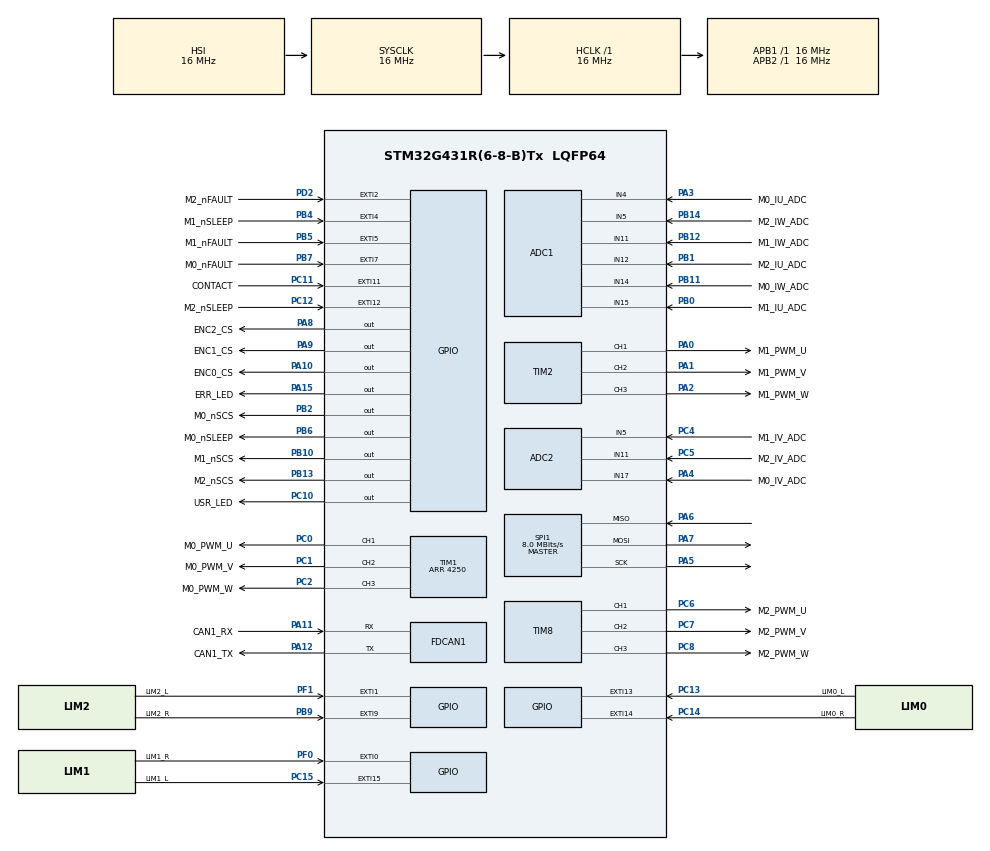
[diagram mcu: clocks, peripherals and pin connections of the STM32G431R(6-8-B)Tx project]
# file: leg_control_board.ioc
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ADC1.Channel-2\#ChannelRegularConversion=ADC_CHANNEL_4
ADC1.EOCSelection=ADC_EOC_SEQ_CONV
ADC1.EnableInjectedConversion=ENABLE
ADC1.ExternalTrigInjecConv=ADC_EXTERNALTRIGINJEC_T1_TRGO
ADC1.InjNumberOfConversion=3
ADC1.InjectedChannel-3\#ChannelInjectedConversion=ADC_CHANNEL_4
ADC1.InjectedChannel-4\#ChannelInjectedConversion=ADC_CHANNEL_15
ADC1.InjectedChannel-5\#ChannelInjectedConversion=ADC_CHANNEL_12
ADC1.InjectedOffsetNumber-3\#ChannelInjectedConversion=ADC_OFFSET_NONE
ADC1.InjectedOffsetNumber-4\#ChannelInjectedConversion=ADC_OFFSET_NONE
ADC1.InjectedOffsetNumber-5\#ChannelInjectedConversion=ADC_OFFSET_NONE
ADC1.InjectedRank-3\#ChannelInjectedConversion=1
ADC1.InjectedRank-4\#ChannelInjectedConversion=2
ADC1.InjectedRank-5\#ChannelInjectedConversion=3
ADC1.InjectedSamplingTime-3\#ChannelInjectedConversion=ADC_SAMPLETIME_24CYCLES_5
ADC1.InjectedSamplingTime-4\#ChannelInjectedConversion=ADC_SAMPLETIME_24CYCLES_5
ADC1.InjectedSamplingTime-5\#ChannelInjectedConversion=ADC_SAMPLETIME_24CYCLES_5
ADC1.Mode=ADC_DUALMODE_INJECSIMULT
ADC1.NbrOfConversionFlag=1
ADC1.OffsetNumber-2\#ChannelRegularConversion=ADC_OFFSET_NONE
ADC1.Rank-2\#ChannelRegularConversion=1
ADC1.Rank1_Channel=ADC_CHANNEL_4
ADC1.Rank2_Channel=ADC_CHANNEL_15
ADC1.Rank3_Channel=ADC_CHANNEL_12
ADC1.SamplingTime-2\#ChannelRegularConversion=ADC_SAMPLETIME_2CYCLES_5
ADC1.master=1
ADC2.Channel-2\#ChannelRegularConversion=ADC_CHANNEL_17
ADC2.EOCSelection=ADC_EOC_SEQ_CONV
ADC2.EnableInjectedConversion=ENABLE
ADC2.EnableInjectedOversampling=DISABLE
ADC2.InjNumberOfConversion=3
ADC2.InjectedChannel-3\#ChannelInjectedConversion=ADC_CHANNEL_17
ADC2.InjectedChannel-4\#ChannelInjectedConversion=ADC_CHANNEL_5
ADC2.InjectedChannel-5\#ChannelInjectedConversion=ADC_CHANNEL_11
ADC2.InjectedOffsetNumber-3\#ChannelInjectedConversion=ADC_OFFSET_NONE
ADC2.InjectedOffsetNumber-4\#ChannelInjectedConversion=ADC_OFFSET_NONE
ADC2.InjectedOffsetNumber-5\#ChannelInjectedConversion=ADC_OFFSET_NONE
ADC2.InjectedRank-3\#ChannelInjectedConversion=1
ADC2.InjectedRank-4\#ChannelInjectedConversion=2
ADC2.InjectedRank-5\#ChannelInjectedConversion=3
ADC2.InjectedSamplingTime-3\#ChannelInjectedConversion=ADC_SAMPLETIME_24CYCLES_5
ADC2.InjectedSamplingTime-4\#ChannelInjectedConversion=ADC_SAMPLETIME_24CYCLES_5
ADC2.InjectedSamplingTime-5\#ChannelInjectedConversion=ADC_SAMPLETIME_24CYCLES_5
ADC2.Mode=ADC_DUALMODE_INJECSIMULT
ADC2.NbrOfConversionFlag=1
ADC2.OffsetNumber-2\#ChannelRegularConversion=ADC_OFFSET_NONE
ADC2.Rank-2\#ChannelRegularConversion=1
ADC2.Rank1_Channel=ADC_CHANNEL_17
ADC2.Rank2_Channel=ADC_CHANNEL_5
ADC2.Rank3_Channel=ADC_CHANNEL_11
ADC2.SamplingTime-2\#ChannelRegularConversion=ADC_SAMPLETIME_2CYCLES_5
FDCAN1.CalculateBaudRateNominal=333333
FDCAN1.CalculateTimeBitNominal=3000
FDCAN1.CalculateTimeQuantumNominal=1000.0
Mcu.Family=STM32G4
Mcu.Name=STM32G431R(6-8-B)Tx
Mcu.Package=LQFP64
NVIC.ADC1_2_IRQn=true\:0\:0\:false\:false\:true\:true\:true\:true
NVIC.PriorityGroup=NVIC_PRIORITYGROUP_4
NVIC.TIM1_UP_TIM16_IRQn=true\:0\:0\:false\:false\:true\:true\:true\:true
PA0.GPIO_Label=M1_PWM_U
PA0.Signal=S_TIM2_CH1
PA1.GPIO_Label=M1_PWM_V
PA1.Signal=S_TIM2_CH2
PA10.GPIO_Label=ENC0_CS
PA10.Signal=GPIO_Output
PA11.GPIO_Label=CAN1_RX
PA11.Mode=FDCAN_Activate
PA11.Signal=FDCAN1_RX
PA12.GPIO_Label=CAN1_TX
PA12.Mode=FDCAN_Activate
PA12.Signal=FDCAN1_TX
PA13.GPIO_Label=SWDIO
PA13.Mode=Trace_Asynchronous_SW
PA13.Signal=SYS_JTMS-SWDIO
PA14.GPIO_Label=SWCLK
PA14.Mode=Trace_Asynchronous_SW
PA14.Signal=SYS_JTCK-SWCLK
PA15.GPIO_Label=ERR_LED
PA15.Signal=GPIO_Output
PA2.GPIO_Label=M1_PWM_W
PA2.Signal=S_TIM2_CH3
PA3.GPIO_Label=M0_IU_ADC
PA3.Mode=IN4-Single-Ended
PA3.Signal=ADC1_IN4
PA4.GPIO_Label=M0_IV_ADC
PA4.Mode=IN17-Single-Ended
PA4.Signal=ADC2_IN17
PA5.Mode=Full_Duplex_Master
PA5.Signal=SPI1_SCK
PA6.Mode=Full_Duplex_Master
PA6.Signal=SPI1_MISO
PA7.Mode=Full_Duplex_Master
PA7.Signal=SPI1_MOSI
PA8.GPIO_Label=ENC2_CS
PA8.Signal=GPIO_Output
PA9.GPIO_Label=ENC1_CS
PA9.Signal=GPIO_Output
PB0.GPIO_Label=M1_IU_ADC
PB0.Mode=IN15-Single-Ended
PB0.Signal=ADC1_IN15
PB1.GPIO_Label=M2_IU_ADC
PB1.Mode=IN12-Single-Ended
PB1.Signal=ADC1_IN12
PB10.GPIO_Label=M1_nSCS
PB10.Signal=GPIO_Output
PB11.GPIO_Label=M0_IW_ADC
PB11.Mode=IN14-Single-Ended
PB11.Signal=ADC1_IN14
PB12.GPIO_Label=M1_IW_ADC
PB12.Mode=IN11-Single-Ended
PB12.Signal=ADC1_IN11
PB13.GPIO_Label=M2_nSCS
PB13.Signal=GPIO_Output
PB14.GPIO_Label=M2_IW_ADC
PB14.Mode=IN5-Single-Ended
PB14.Signal=ADC1_IN5
PB2.GPIO_Label=M0_nSCS
PB2.Signal=GPIO_Output
PB3.GPIO_Label=SWO
PB3.Mode=Trace_Asynchronous_SW
PB3.Signal=SYS_JTDO-SWO
PB4.GPIO_Label=M1_nSLEEP
PB4.Signal=GPXTI4
PB5.GPIO_Label=M1_nFAULT
PB5.Signal=GPXTI5
PB6.GPIO_Label=M0_nSLEEP
PB6.Signal=GPIO_Output
PB7.GPIO_Label=M0_nFAULT
PB7.Signal=GPXTI7
PB9.GPIO_Label=LIM2_R
PB9.Signal=GPXTI9
PC0.GPIO_Label=M0_PWM_U
PC0.Signal=S_TIM1_CH1
PC1.GPIO_Label=M0_PWM_V
PC1.Signal=S_TIM1_CH2
PC10.GPIO_Label=USR_LED
PC10.Signal=GPIO_Output
PC11.GPIO_Label=CONTACT
PC11.Signal=GPXTI11
PC12.GPIO_Label=M2_nSLEEP
PC12.Signal=GPXTI12
PC13.GPIO_Label=LIM0_L
PC13.Signal=GPXTI13
PC14-OSC32_IN.GPIO_Label=LIM0_R
PC14-OSC32_IN.Signal=GPXTI14
PC15-OSC32_OUT.GPIO_Label=LIM1_L
PC15-OSC32_OUT.Signal=GPXTI15
PC2.GPIO_Label=M0_PWM_W
PC2.Signal=S_TIM1_CH3
PC3.GPIO_Label=DRV_BKIN
PC3.Signal=TIM1_BKIN2
PC4.GPIO_Label=M1_IV_ADC
PC4.Mode=IN5-Single-Ended
PC4.Signal=ADC2_IN5
PC5.GPIO_Label=M2_IV_ADC
PC5.Mode=IN11-Single-Ended
PC5.Signal=ADC2_IN11
PC6.GPIO_Label=M2_PWM_U
PC6.Signal=S_TIM8_CH1
PC7.GPIO_Label=M2_PWM_V
PC7.Signal=S_TIM8_CH2
PC8.GPIO_Label=M2_PWM_W
PC8.Signal=S_TIM8_CH3
PD2.GPIO_Label=M2_nFAULT
PD2.Signal=GPXTI2
PF0-OSC_IN.GPIO_Label=LIM1_R
PF0-OSC_IN.Signal=GPXTI0
PF1-OSC_OUT.GPIO_Label=LIM2_L
PF1-OSC_OUT.Signal=GPXTI1
ProjectManager.HeapSize=0x200
ProjectManager.StackSize=0x400
ProjectManager.TargetToolchain=CMake
RCC.AHBFreq_Value=16000000
RCC.APB1Freq_Value=16000000
RCC.APB1TimFreq_Value=16000000
RCC.APB2Freq_Value=16000000
RCC.APB2TimFreq_Value=16000000
RCC.CortexFreq_Value=16000000
RCC.EXTERNAL_CLOCK_VALUE=12288000
RCC.HCLKFreq_Value=16000000
RCC.HSE_VALUE=8000000
RCC.HSI48_VALUE=48000000
RCC.HSI_VALUE=16000000
RCC.LSE_VALUE=32768
RCC.SYSCLKFreq_VALUE=16000000
RCC.USBFreq_Value=64000000
RCC.VCOOutputFreq_Value=128000000
SH.S_TIM1_CH1.0=TIM1_CH1,PWM Generation1 CH1
SH.S_TIM1_CH2.0=TIM1_CH2,PWM Generation2 CH2
SH.S_TIM1_CH3.0=TIM1_CH3,PWM Generation3 CH3
SH.S_TIM2_CH1.0=TIM2_CH1,Output Compare1 CH1
SH.S_TIM2_CH2.0=TIM2_CH2,Output Compare2 CH2
SH.S_TIM2_CH3.0=TIM2_CH3,Output Compare3 CH3
SH.S_TIM8_CH1.0=TIM8_CH1,Output Compare1 CH1
SH.S_TIM8_CH2.0=TIM8_CH2,Output Compare2 CH2
SH.S_TIM8_CH3.0=TIM8_CH3,Output Compare3 CH3
SPI1.BaudRatePrescaler=SPI_BAUDRATEPRESCALER_2
SPI1.CLKPhase=SPI_PHASE_2EDGE
SPI1.CalculateBaudRate=8.0 MBits/s
SPI1.DataSize=SPI_DATASIZE_8BIT
SPI1.Direction=SPI_DIRECTION_2LINES
SPI1.Mode=SPI_MODE_MASTER
SPI1.VirtualType=VM_MASTER
TIM1.AutoReloadPreload=TIM_AUTORELOAD_PRELOAD_ENABLE
TIM1.Channel-PWM\ Generation1\ CH1=TIM_CHANNEL_1
TIM1.Channel-PWM\ Generation2\ CH2=TIM_CHANNEL_2
TIM1.Channel-PWM\ Generation3\ CH3=TIM_CHANNEL_3
TIM1.CounterMode=TIM_COUNTERMODE_CENTERALIGNED1
TIM1.PeriodNoDither=4250
TIM1.TIM_MasterOutputTrigger=TIM_TRGO_UPDATE
TIM2.Channel-Output\ Compare1\ CH1=TIM_CHANNEL_1
TIM2.Channel-Output\ Compare2\ CH2=TIM_CHANNEL_2
TIM2.Channel-Output\ Compare3\ CH3=TIM_CHANNEL_3
TIM2.Channel-Output\ Compare4\ No\ Output=TIM_CHANNEL_4
TIM8.Channel-Output\ Compare1\ CH1=TIM_CHANNEL_1
TIM8.Channel-Output\ Compare2\ CH2=TIM_CHANNEL_2
TIM8.Channel-Output\ Compare3\ CH3=TIM_CHANNEL_3
TIM8.Channel-Output\ Compare4\ No\ Output=TIM_CHANNEL_4
VP_CORDIC_VS_CORDIC.Mode=CORDIC_Activate
VP_SYS_VS_DBSignals.Mode=DisableDeadBatterySignals
VP_TIM1_VS_ClockSourceINT.Mode=Internal
VP_TIM2_VS_ClockSourceINT.Mode=Internal
VP_TIM2_VS_no_output4.Mode=Output Compare4 No Output
VP_TIM8_VS_ClockSourceINT.Mode=Internal
VP_TIM8_VS_no_output4.Mode=Output Compare4 No Output
board=custom

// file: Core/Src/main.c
/* USER CODE BEGIN Header */
/**
 ******************************************************************************
 * @file           : main.c
 * @brief          : Main program body
 ******************************************************************************
 * @attention
 *
 * Copyright (c) 2026 STMicroelectronics.
 * All rights reserved.
 *
 * This software is licensed under terms that can be found in the LICENSE file
 * in the root directory of this software component.
 * If no LICENSE file comes with this software, it is provided AS-IS.
 *
 ******************************************************************************
 */
/* USER CODE END Header */
#include "main.h"
#include "adc.h"
#include "cordic.h"
#include "fdcan.h"
#include "gpio.h"
#include "spi.h"
#include "stm32g4xx_hal_def.h"
#include "tim.h"

/* USER CODE BEGIN Includes */
#include "as5048a_adapter.h"
#include "current_sense.h"
#include "drv8316_adapter.h"
#include "foc_adapter.h"
#include "swo.h"
#include <limits.h>
#include <math.h>
#include <stdbool.h>
#include <stdint.h>
#include <stdio.h>

/* USER CODE END Includes */

void SystemClock_Config(void);

int main(void) {

    /* MCU
     * Configuration--------------------------------------------------------*/

    /* Reset of all peripherals, Initializes the Flash interface and the
     * Systick. */
    HAL_Init();

    /* USER CODE BEGIN Init */

    CoreDebug->DEMCR |= CoreDebug_DEMCR_TRCENA_Msk;
    DWT->CYCCNT = 0;
    DWT->CTRL |= DWT_CTRL_CYCCNTENA_Msk;

    /* USER CODE END Init */

    /* Configure the system clock */
    SystemClock_Config();

    /* USER CODE BEGIN SysInit */

    SWO_Init();
    /* USER CODE END SysInit */

    /* Initialize all configured peripherals */
    MX_GPIO_Init();
    MX_ADC1_Init();
    MX_ADC2_Init();
    MX_CORDIC_Init();
    MX_FDCAN1_Init();
    MX_SPI1_Init();
    MX_TIM1_Init();
    MX_TIM2_Init();
    MX_TIM8_Init();
    /* USER CODE BEGIN 2 */

    if (HAL_ADCEx_Calibration_Start(&hadc1, ADC_SINGLE_ENDED) != HAL_OK) {
        Error_Handler();
    };
    if (HAL_ADCEx_Calibration_Start(&hadc2, ADC_SINGLE_ENDED) != HAL_OK) {
        Error_Handler();
    };

    if (drv8316_init_instance(DRV8316_INSTANCE_1) != HAL_OK) {
        Error_Handler();
    }

    if (drv8316_set_pwm_mode(DRV8316_INSTANCE_1, DRV8316_PWM_MODE_3X) !=
        HAL_OK) {
        Error_Handler();
    };

    if (as5048a_init() != HAL_OK) {
        Error_Handler();
    }

    if (as5048a_begin_continuous_angle_read(AS5048A_INSTANCE_1) != HAL_OK) {
        Error_Handler();
    }

    CurrentSense_Init();

    HAL_GPIO_WritePin(M0_nSLEEP_GPIO_Port, M0_nSLEEP_Pin, GPIO_PIN_SET);

    uint32_t arr = __HAL_TIM_GET_AUTORELOAD(&htim1);
    uint32_t neutral = arr / 2U;

    __HAL_TIM_SET_COMPARE(&htim1, TIM_CHANNEL_1, neutral);
    __HAL_TIM_SET_COMPARE(&htim1, TIM_CHANNEL_2, neutral);
    __HAL_TIM_SET_COMPARE(&htim1, TIM_CHANNEL_3, neutral);

    if (HAL_TIM_PWM_Start(&htim1, TIM_CHANNEL_1) != HAL_OK) {
        Error_Handler();
    };

    if (HAL_TIM_PWM_Start(&htim1, TIM_CHANNEL_2) != HAL_OK) {
        Error_Handler();
    };

    if (HAL_TIM_PWM_Start(&htim1, TIM_CHANNEL_3) != HAL_OK) {
        Error_Handler();
    };

    if (HAL_ADCEx_InjectedStart(&hadc2)) {
        Error_Handler();
    };

    if (HAL_ADCEx_InjectedStart_IT(&hadc1)) {
        Error_Handler();
    };

    if (CurrentSense_ProcessAdcISR() != HAL_OK) {
        Error_Handler();
    };

    /* USER CODE END 2 */

    /* Infinite loop */
    /* USER CODE BEGIN WHILE */

    HAL_GPIO_WritePin(USR_LED_GPIO_Port, USR_LED_Pin, 1);
    HAL_Delay(100);
    HAL_GPIO_WritePin(USR_LED_GPIO_Port, USR_LED_Pin, 0);
    HAL_Delay(100);
    HAL_GPIO_WritePin(USR_LED_GPIO_Port, USR_LED_Pin, 1);
    HAL_Delay(100);
    HAL_GPIO_WritePin(USR_LED_GPIO_Port, USR_LED_Pin, 0);

    axis_init();
    axis_calibrate_electrical_offset();

    AS5048A_Sample_t sample;
    while (1) {
        /* USER CODE END WHILE */

        /* USER CODE BEGIN 3 */

        HAL_Delay(10U);
    }
    /* USER CODE END 3 */
}

void SystemClock_Config(void) {
    RCC_OscInitTypeDef RCC_OscInitStruct = {0};
    RCC_ClkInitTypeDef RCC_ClkInitStruct = {0};

    /** Configure the main internal regulator output voltage
     */
    HAL_PWREx_ControlVoltageScaling(PWR_REGULATOR_VOLTAGE_SCALE1);

    /** Initializes the RCC Oscillators according to the specified parameters
     * in the RCC_OscInitTypeDef structure.
     */
    RCC_OscInitStruct.OscillatorType = RCC_OSCILLATORTYPE_HSI;
    RCC_OscInitStruct.HSIState = RCC_HSI_ON;
    RCC_OscInitStruct.HSICalibrationValue = RCC_HSICALIBRATION_DEFAULT;
    RCC_OscInitStruct.PLL.PLLState = RCC_PLL_NONE;
    if (HAL_RCC_OscConfig(&RCC_OscInitStruct) != HAL_OK) {
        Error_Handler();
    }

    /** Initializes the CPU, AHB and APB buses clocks
     */
    RCC_ClkInitStruct.ClockType = RCC_CLOCKTYPE_HCLK | RCC_CLOCKTYPE_SYSCLK |
                                  RCC_CLOCKTYPE_PCLK1 | RCC_CLOCKTYPE_PCLK2;
    RCC_ClkInitStruct.SYSCLKSource = RCC_SYSCLKSOURCE_HSI;
    RCC_ClkInitStruct.AHBCLKDivider = RCC_SYSCLK_DIV1;
    RCC_ClkInitStruct.APB1CLKDivider = RCC_HCLK_DIV1;
    RCC_ClkInitStruct.APB2CLKDivider = RCC_HCLK_DIV1;

    if (HAL_RCC_ClockConfig(&RCC_ClkInitStruct, FLASH_LATENCY_0) != HAL_OK) {
        Error_Handler();
    }
}

void Error_Handler(void) {
    /* USER CODE BEGIN Error_Handler_Debug */
    /* User can add his own implementation to report the HAL error return state
     */
    HAL_GPIO_WritePin(ERR_LED_GPIO_Port, ERR_LED_Pin, GPIO_PIN_SET);
    printf("Error Detected\r\n");
    __disable_irq();
    while (1) {
    }
    /* USER CODE END Error_Handler_Debug */
}
#ifdef USE_FULL_ASSERT
/**
 * @brief  Reports the name of the source file and the source line number
 *         where the assert_param error has occurred.
 * @param  file: pointer to the source file name
 * @param  line: assert_param error line source number
 * @retval None
 */
void assert_failed(uint8_t *file, uint32_t line) {
    /* USER CODE BEGIN 6 */
    /* User can add his own implementation to report the file name and line
       number, ex: printf("Wrong parameters value: file %s on line %d\r\n",
       file, line) */
    /* USER CODE END 6 */
}
#endif /* USE_FULL_ASSERT */
